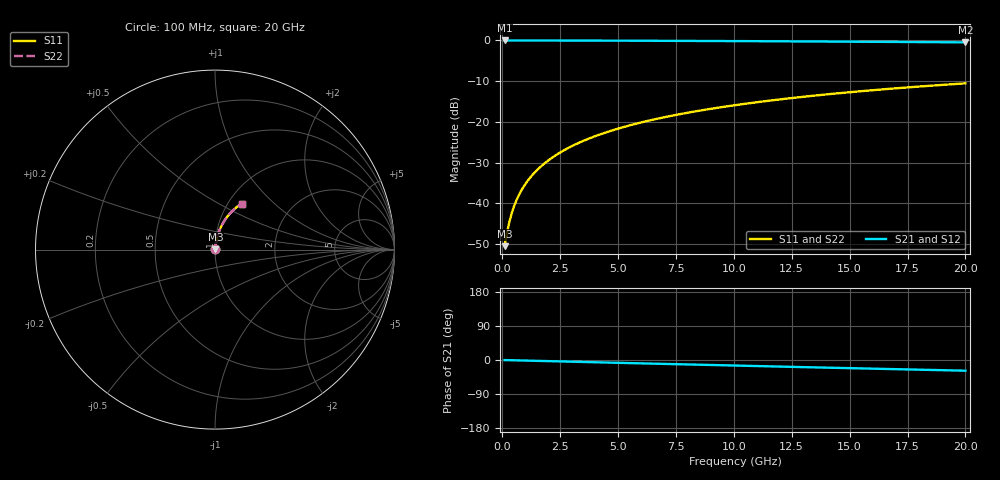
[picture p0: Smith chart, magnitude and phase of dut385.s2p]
! Touchstone file exported from HFSS 2026.1.0
!  File:  C:/ffzhzh/LocalFiles/Ansys_Project_Files/temp_train_TMRDL_385_1783004626_53980.aedt
!  Generated:  11:05:09 PM Jul  2, 2026
!  Design:  TMRDL
!  Project:  temp_train_TMRDL_385_1783004626_53980
! Variables:
!  h_bsmrdl = 2um
!  h_ox = 20um
!  h_rdl = 5um
!  h_sub = 80um
!  h_tmrdl = 4.83um
!  h_tsv = 80um
!  h_via = 3um
!  l_bsmrdl = 300um
!  l_sub = 785.29um
!  l_tmrdl = 385.29um
!  m_sub = 200um
!  pitch = 36.67um
!  r_tsv = 6um
!  s_tmrdl = 10um
!  w_bsmrdl = 18um
!  w_sub = 500um
!  w_tmrdl = 12.2um
!  x_tsv_center1 = 391.39um
!  x_tsv_center2 = 709.39um
!  x_tsv_center3 = 1106.88um
!  x_tsv_center4 = 1424.88um
!  x_tsv_center5 = 1822.37um
!  x_tsv_center6 = 2140.37um
# GHz S MA R 50.000000
! Terminal data exported
! Port[1] = TM_RDL1_1_T1
! Port[2] = TM_RDL1_1_T2
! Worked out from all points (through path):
!   200 points, 100 MHz to 20 GHz, reference 50 ohm
!   highest |S21| = -0.02 dB at 100 MHz (marker M1); lowest = -0.5 dB at 20 GHz (marker M2)
!   group delay of S21, straight-line fit = 3.92 ps
!   lowest |S11| = -50.5 dB at 100 MHz (marker M3), VSWR 1.01, Z = 50.2 + j0.177 ohm
!   |S11| at or under -10 dB: start of sweep to end of sweep
!   |S22| runs from -50.5 to -10.5 dB; largest |S21 - S12| = 3e-15
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0.1  0.002982 36.3  0.9976 -0.2  0.9976 -0.2  0.002982 36.3
! Gamma 0 0 0 0
! Port Impedance 50 0 50 0
0.2  0.004291 55.1  0.9975 -0.3  0.9975 -0.3  0.004291 55.1
0.3  0.005831 64.2  0.9975 -0.5  0.9975 -0.5  0.005832 64.2
0.4  0.007444 69.3  0.9974 -0.6  0.9974 -0.6  0.007445 69.3
0.5  0.009079 72.5  0.9973 -0.8  0.9973 -0.8  0.009082 72.5
0.6  0.01072 74.6  0.9973 -0.9  0.9973 -0.9  0.01073 74.6
0.8  0.01402 77.3  0.9972 -1.2  0.9972 -1.2  0.01402 77.3
1.1  0.01896 79.5  0.997 -1.7  0.997 -1.7  0.01897 79.5
1.5  0.02558 80.9  0.9967 -2.3  0.9967 -2.3  0.02558 80.9
1.8  0.03054 81.3  0.9965 -2.7  0.9965 -2.7  0.03054 81.3
2.1  0.03549 81.5  0.9962 -3.2  0.9962 -3.2  0.03549 81.5
2.7  0.04537 81.5  0.9955 -4.1  0.9955 -4.1  0.04537 81.5
3.5  0.05844 80.9  0.9944 -5.2  0.9944 -5.2  0.05844 80.9
4.2  0.06977 80.2  0.9933 -6.3  0.9933 -6.3  0.06977 80.2
5  0.08259 79.3  0.9919 -7.4  0.9919 -7.4  0.08259 79.3
5.9  0.09683 78.1  0.9901 -8.8  0.9901 -8.8  0.09683 78.1
6.8  0.1109 77.0  0.9881 -10.1  0.9881 -10.1  0.1109 77.0
8.3  0.1339 75.0  0.9846 -12.2  0.9846 -12.2  0.1339 75.0
10.1  0.161 72.7  0.9798 -14.8  0.9798 -14.8  0.161 72.7
13.4  0.2088 68.4  0.9697 -19.4  0.9697 -19.4  0.2088 68.4
16.7  0.2542 64.1  0.9581 -23.9  0.9581 -23.9  0.2542 64.1
20  0.2968 59.9  0.9452 -28.2  0.9452 -28.2  0.2968 59.9
